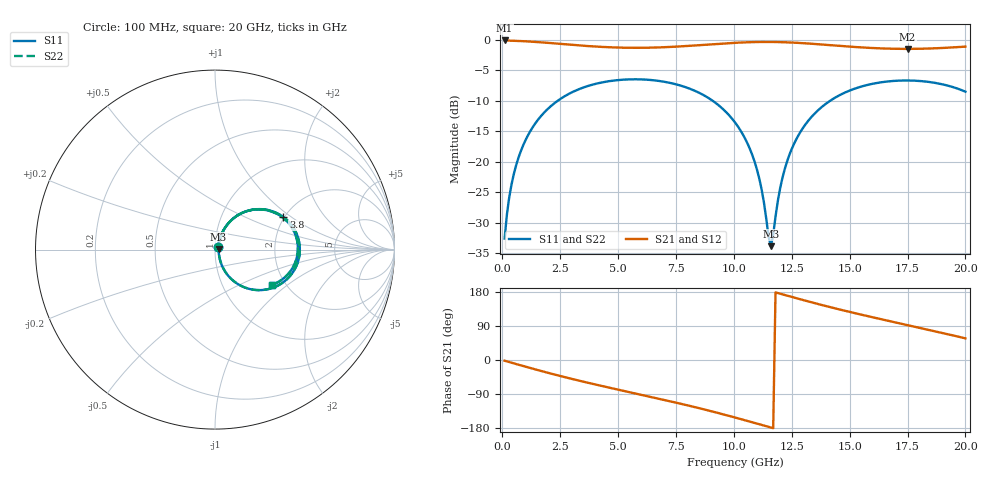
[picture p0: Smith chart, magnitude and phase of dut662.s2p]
! Touchstone file exported from HFSS 2026.1.0
!  File:  C:/ffzhzh/LocalFiles/Ansys_Project_Files/temp_train_TSV_RDL_662_1783130620_46604.aedt
!  Generated:  10:17:25 AM Jul  4, 2026
!  Design:  TSV_RDL
!  Project:  temp_train_TSV_RDL_662_1783130620_46604
! Variables:
!  h_bsmrdl = 5.88um
!  h_ox = 20um
!  h_rdl = 5um
!  h_sub = 97.37um
!  h_tmrdl = 3.84um
!  h_tsv = 97.37um
!  h_via = 3um
!  l_bsmrdl = 300.8um
!  l_sub = 5031.34um
!  l_tmrdl = 898.86um
!  m_sub = 200um
!  pitch = 54.28um
!  r_tsv = 11.22um
!  s_tmrdl = 10um
!  w_bsmrdl = 14.85um
!  w_sub = 500um
!  w_tmrdl = 29.65um
!  x_tsv_center1 = 913.685um
!  x_tsv_center2 = 1229.335um
!  x_tsv_center3 = 2157.845um
!  x_tsv_center4 = 2473.495um
!  x_tsv_center5 = 3402.005um
!  x_tsv_center6 = 3717.655um
# GHz S MA R 50.000000
! Terminal data exported
! Port[1] = TM_RDL1_1_T1
! Port[2] = TM_RDL5_1_T1
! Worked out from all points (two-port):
!   200 points, 100 MHz to 20 GHz, reference 50 ohm
!   highest |S21| = -0.14 dB at 100 MHz (marker M1); lowest = -1.5 dB at 17.5 GHz (marker M2)
!   |S21| within 3 dB of the highest: start of sweep to end of sweep
!   lowest |S11| = -33.9 dB at 11.6 GHz (marker M3), VSWR 1.04, Z = 52.1 + j0.0883 ohm
!   |S11| at or under -10 dB: start of sweep to 2.404 GHz; 9.073 GHz to 14.17 GHz (5.098 GHz wide, 43.9 % of centre)
!   |S22| runs from -33.7 to -6.5 dB; largest |S21 - S12| = 2e-14
!   S11 on the Smith chart (normalised r, x): 100 MHz: 1.03, +0.03; 3.8 GHz: 1.98, +0.87; 20 GHz: 1.71, -0.78
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0.1  0.02339 43.6  0.9835 -1.9  0.9835 -1.9  0.02339 43.6
! Gamma 0 0 0 0
! Port Impedance 50 0 50 0
0.3  0.05102 63.3  0.9804 -5.4  0.9804 -5.4  0.05102 63.3
0.5  0.07939 66.7  0.9774 -8.9  0.9774 -8.9  0.07939 66.7
1.1  0.1629 63.2  0.9655 -19.3  0.9655 -19.3  0.1629 63.2
2.1  0.2849 49.6  0.9357 -35.9  0.9357 -35.9  0.2849 49.6
3.5  0.4044 29.6  0.8903 -57.2  0.8903 -57.2  0.4045 29.6
3.8  0.422 25.5  0.8822 -61.5  0.8822 -61.5  0.422 25.5
5.3  0.4703 5.5  0.8574 -82.3  0.8574 -82.3  0.4703 5.5
6.8  0.4572 -14.1  0.8628 -102.6  0.8628 -102.6  0.4572 -14.0
8.7  0.35 -40.0  0.9053 -130.1  0.9053 -130.1  0.35 -39.9
10.1  0.2032 -59.4  0.9419 -152.5  0.9419 -152.5  0.2033 -59.3
11  0.08579 -66.3  0.955 -167.8  0.955 -167.8  0.08587 -66.1
11.2  0.05906 -63.3  0.9561 -171.2  0.9561 -171.2  0.05918 -63.0
11.6  0.02025 2.4  0.9561 -178.2  0.9561 -178.2  0.02063 2.4
12  0.06049 63.7  0.9531 175.0  0.9531 175.0  0.06063 63.4
12.3  0.1004 66.6  0.949 169.8  0.949 169.8  0.1005 66.4
12.8  0.1655 63.0  0.939 161.4  0.939 161.4  0.1655 62.9
13.4  0.2374 55.6  0.9233 151.5  0.9233 151.5  0.2375 55.5
14.9  0.375 35.0  0.8782 128.4  0.8782 128.4  0.3751 34.9
16.7  0.4547 11.2  0.8425 103.0  0.8425 103.0  0.4548 11.2
17.5  0.462 1.0  0.8387 92.2  0.8387 92.2  0.4621 0.9
20  0.3741 -31.5  0.8756 57.1  0.8756 57.1  0.374 -31.6
